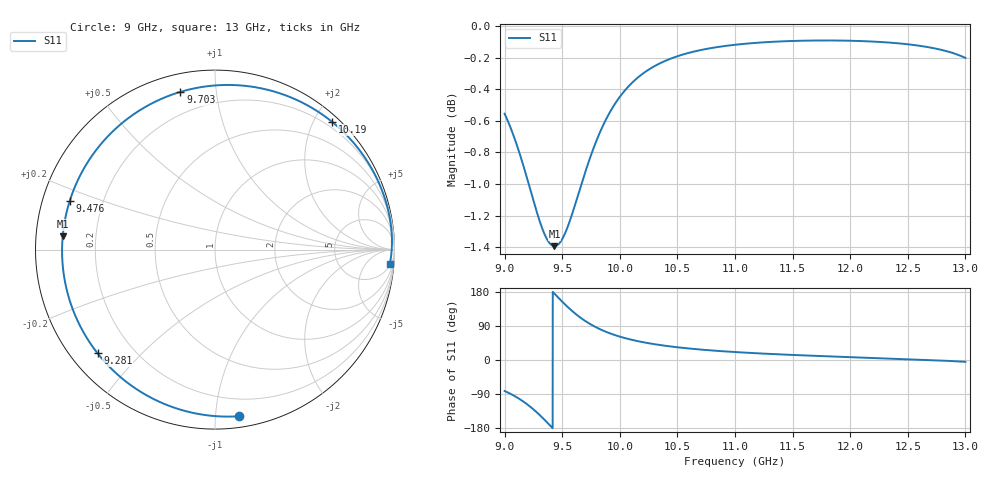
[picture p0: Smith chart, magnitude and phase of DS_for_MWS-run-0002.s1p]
! TOUCHSTONE file generated by CST DESIGN STUDIO
! Date and time: Tue Feb  4 17:04:16 2025
! Project name: C:\Work\MatlabApps\UnitCellOptimizationMatlab\CST\unitcell.cst
! Tree item: Tasks\Sweep1\SPara1\S-Parameters
! Header version: 2024
! Port assignment regex: !\s*Touchstone port\s*([0-9]+)\s*=\s*(CST MWS port|CST DES external port|CST DES block port)\s*(.+)\s* \(\"(.*)\"\)(\s*mode\s*([0-9]+))?.*
! Touchstone port assignment:
! Touchstone port 1 = CST DES external port 1 ("")
# GHz S MA R 50
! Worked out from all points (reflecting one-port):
!   4001 points, 9 GHz to 13 GHz, reference 50 ohm
!   lowest |S11| = -1.4 dB at 9.433 GHz (marker M1), VSWR 12.50, Z = 4.01 + j2.18 ohm
!   phase of S11 starts at -82 deg and turns -283 deg over the sweep
!   S11 on the Smith chart (normalised r, x): 9 GHz: 0.07, -1.15; 9.281 GHz: 0.08, -0.38; 9.476 GHz: 0.08, +0.16; 9.703 GHz: 0.09, +0.80; 10.19 GHz: 0.11, +2.27; 13 GHz: 6, -22
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9  0.9381 -81.7
9.084  0.9219 -94.6
9.155  0.9052 -108.0
9.219  0.8887 -122.4
9.281  0.8729 -138.5
9.361  0.8571 -162.2
9.397  0.8532 -173.5
9.433  0.8518 175.0
9.476  0.8536 161.4
9.5  0.8562 154.0
9.551  0.8646 139.0
9.6  0.8751 125.7
9.65  0.887 113.6
9.703  0.8997 102.4
9.77  0.9144 90.2
9.848  0.929 78.5
9.922  0.9402 69.5
10  0.9497 61.7
10.091  0.9582 54.2
10.192  0.9654 47.5
10.333  0.9725 40.2
10.5  0.9782 33.6
10.723  0.9829 27.0
11  0.9864 21.0
11.5  0.9891 13.3
12  0.9893 7.6
12.5  0.9867 2.2
13  0.977 -4.8
